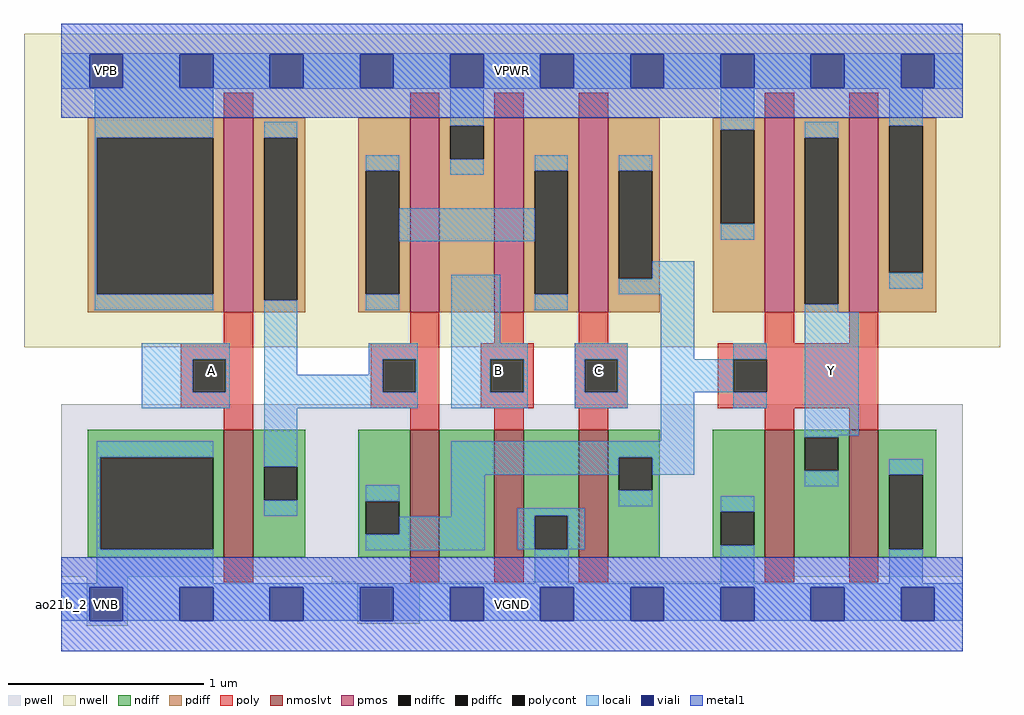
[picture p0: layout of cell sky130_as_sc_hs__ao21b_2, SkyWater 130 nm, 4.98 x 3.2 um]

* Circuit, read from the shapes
.subckt sky130_as_sc_hs__ao21b_2 VNB VPB VPWR VGND A B C Y
XM1 n1 A VGND VNB sky130_fd_pr__nfet_01v8_lvt w=0.65 l=0.15
XM2 n2 n1 n3 VNB sky130_fd_pr__nfet_01v8_lvt w=0.65 l=0.15
XM3 VGND B n2 VNB sky130_fd_pr__nfet_01v8_lvt w=0.65 l=0.15
XM4 n3 C VGND VNB sky130_fd_pr__nfet_01v8_lvt w=0.65 l=0.15
XM5 Y n3 VGND VNB sky130_fd_pr__nfet_01v8_lvt w=0.65 l=0.15 m=2
XM6 n1 A VPWR VPB sky130_fd_pr__pfet_01v8 w=0.99 l=0.15
XM7 VPWR n1 n4 VPB sky130_fd_pr__pfet_01v8 w=0.99 l=0.15
XM8 n4 B VPWR VPB sky130_fd_pr__pfet_01v8 w=0.99 l=0.15
XM9 n3 C n4 VPB sky130_fd_pr__pfet_01v8 w=0.99 l=0.15
XM10 Y n3 VPWR VPB sky130_fd_pr__pfet_01v8 w=0.99 l=0.15 m=2
.ends

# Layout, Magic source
magic
tech sky130A
magscale 1 2
<< nwell >>
rect -38 262 958 582
<< pwell >>
rect 0 28 920 204
rect 26 -22 68 28
rect 276 22 736 28
rect 302 -20 366 22
<< pmos >>
rect 166 298 196 496
rect 356 298 386 496
rect 442 298 472 496
rect 528 298 558 496
rect 718 298 748 496
rect 804 298 834 496
<< nmoslvt >>
rect 166 48 196 178
rect 356 48 386 178
rect 442 48 472 178
rect 528 48 558 178
rect 718 48 748 178
rect 804 48 834 178
<< ndiff >>
rect 27 150 166 178
rect 27 56 40 150
rect 155 56 166 150
rect 27 48 166 56
rect 196 140 249 178
rect 196 106 207 140
rect 241 106 249 140
rect 196 48 249 106
rect 303 105 356 178
rect 303 71 311 105
rect 345 71 356 105
rect 303 48 356 71
rect 386 48 442 178
rect 472 90 528 178
rect 472 56 483 90
rect 517 56 528 90
rect 472 48 528 56
rect 558 150 611 178
rect 558 116 569 150
rect 603 116 611 150
rect 558 48 611 116
rect 665 94 718 178
rect 665 60 673 94
rect 707 60 718 94
rect 665 48 718 60
rect 748 170 804 178
rect 748 136 759 170
rect 793 136 804 170
rect 748 48 804 136
rect 834 132 893 178
rect 834 56 845 132
rect 879 56 893 132
rect 834 48 893 56
<< pdiff >>
rect 27 476 166 496
rect 27 316 36 476
rect 155 316 166 476
rect 27 298 166 316
rect 196 476 249 496
rect 196 310 207 476
rect 241 310 249 476
rect 196 298 249 310
rect 303 442 356 496
rect 303 316 311 442
rect 345 316 356 442
rect 303 298 356 316
rect 386 488 442 496
rect 386 454 397 488
rect 431 454 442 488
rect 386 298 442 454
rect 472 442 528 496
rect 472 316 483 442
rect 517 316 528 442
rect 472 298 528 316
rect 558 442 611 496
rect 558 332 569 442
rect 603 332 611 442
rect 558 298 611 332
rect 665 484 718 496
rect 665 388 673 484
rect 707 388 718 484
rect 665 298 718 388
rect 748 476 804 496
rect 748 306 759 476
rect 793 306 804 476
rect 748 298 804 306
rect 834 488 893 496
rect 834 338 845 488
rect 879 338 893 488
rect 834 298 893 338
<< ndiffc >>
rect 40 56 155 150
rect 207 106 241 140
rect 311 71 345 105
rect 483 56 517 90
rect 569 116 603 150
rect 673 60 707 94
rect 759 136 793 170
rect 845 56 879 132
<< pdiffc >>
rect 36 316 155 476
rect 207 310 241 476
rect 311 316 345 442
rect 397 454 431 488
rect 483 316 517 442
rect 569 332 603 442
rect 673 388 707 484
rect 759 306 793 476
rect 845 338 879 488
<< poly >>
rect 166 496 196 522
rect 356 496 386 522
rect 442 496 472 522
rect 528 496 558 522
rect 718 496 748 522
rect 804 496 834 522
rect 166 266 196 298
rect 356 266 386 298
rect 442 266 472 298
rect 528 266 558 298
rect 718 266 748 298
rect 804 266 834 298
rect 122 250 196 266
rect 122 216 134 250
rect 168 216 196 250
rect 122 200 196 216
rect 316 250 386 266
rect 316 216 328 250
rect 362 216 386 250
rect 316 200 386 216
rect 428 250 482 266
rect 428 216 438 250
rect 472 216 482 250
rect 428 200 482 216
rect 524 250 578 266
rect 524 216 534 250
rect 568 216 578 250
rect 524 200 578 216
rect 670 250 834 266
rect 670 216 686 250
rect 720 216 834 250
rect 670 200 834 216
rect 166 178 196 200
rect 356 178 386 200
rect 442 178 472 200
rect 528 178 558 200
rect 718 178 748 200
rect 804 178 834 200
rect 166 22 196 48
rect 356 22 386 48
rect 442 22 472 48
rect 528 22 558 48
rect 718 22 748 48
rect 804 22 834 48
<< polycont >>
rect 134 216 168 250
rect 328 216 362 250
rect 438 216 472 250
rect 534 216 568 250
rect 686 216 720 250
<< locali >>
rect 0 561 920 562
rect 0 527 29 561
rect 63 527 121 561
rect 155 527 213 561
rect 247 527 305 561
rect 339 527 397 561
rect 431 527 489 561
rect 523 527 581 561
rect 615 527 673 561
rect 707 527 765 561
rect 799 527 857 561
rect 891 527 920 561
rect 0 526 920 527
rect 34 476 155 526
rect 34 316 36 476
rect 34 300 155 316
rect 207 476 241 492
rect 397 488 431 526
rect 82 250 172 266
rect 82 216 134 250
rect 168 216 172 250
rect 82 200 172 216
rect 207 234 241 310
rect 311 442 345 458
rect 673 484 707 526
rect 397 438 431 454
rect 483 442 517 458
rect 345 370 483 404
rect 311 300 345 316
rect 398 266 448 336
rect 569 442 603 458
rect 673 372 707 388
rect 759 476 793 492
rect 603 332 646 350
rect 569 316 646 332
rect 483 300 517 316
rect 314 250 364 266
rect 314 234 328 250
rect 207 216 328 234
rect 362 216 364 250
rect 207 200 364 216
rect 398 250 476 266
rect 398 216 438 250
rect 472 216 476 250
rect 398 200 476 216
rect 524 250 578 266
rect 524 216 534 250
rect 568 216 578 250
rect 524 200 578 216
rect 612 250 646 316
rect 845 488 879 526
rect 845 322 879 338
rect 759 298 793 306
rect 686 250 720 266
rect 612 216 686 250
rect 36 150 155 166
rect 36 56 40 150
rect 207 140 241 200
rect 612 166 646 216
rect 686 200 720 216
rect 398 150 646 166
rect 398 132 569 150
rect 207 90 241 106
rect 311 105 345 121
rect 36 21 155 56
rect 398 89 432 132
rect 603 132 646 150
rect 759 172 814 298
rect 759 170 793 172
rect 759 120 793 136
rect 845 132 879 148
rect 569 100 603 116
rect 345 71 432 89
rect 311 55 432 71
rect 466 90 534 98
rect 466 56 483 90
rect 517 56 534 90
rect 673 94 707 110
rect 483 21 518 56
rect 673 21 707 60
rect 845 21 879 56
rect 0 17 920 21
rect 0 -17 29 17
rect 63 -17 121 17
rect 155 -17 213 17
rect 247 -17 305 17
rect 339 -17 397 17
rect 431 -17 489 17
rect 523 -17 581 17
rect 615 -17 673 17
rect 707 -17 765 17
rect 799 -17 857 17
rect 891 -17 920 17
<< viali >>
rect 29 527 63 561
rect 121 527 155 561
rect 213 527 247 561
rect 305 527 339 561
rect 397 527 431 561
rect 489 527 523 561
rect 581 527 615 561
rect 673 527 707 561
rect 765 527 799 561
rect 857 527 891 561
rect 29 -17 63 17
rect 121 -17 155 17
rect 213 -17 247 17
rect 305 -17 339 17
rect 397 -17 431 17
rect 489 -17 523 17
rect 581 -17 615 17
rect 673 -17 707 17
rect 765 -17 799 17
rect 857 -17 891 17
<< metal1 >>
rect 0 561 920 592
rect 0 527 29 561
rect 63 527 121 561
rect 155 527 213 561
rect 247 527 305 561
rect 339 527 397 561
rect 431 527 489 561
rect 523 527 581 561
rect 615 527 673 561
rect 707 527 765 561
rect 799 527 857 561
rect 891 527 920 561
rect 0 496 920 527
rect 0 17 920 48
rect 0 -17 29 17
rect 63 -17 121 17
rect 155 -17 213 17
rect 247 -17 305 17
rect 339 -17 397 17
rect 431 -17 489 17
rect 523 -17 581 17
rect 615 -17 673 17
rect 707 -17 765 17
rect 799 -17 857 17
rect 891 -17 920 17
rect 0 -48 920 -17
<< labels >>
rlabel comment s 0 0 0 0 4 ao21b_2
flabel pwell s 29 -17 63 17 0 FreeSans 200 0 0 0 VNB
port 1 nsew ground bidirectional
flabel pwell s 46 0 46 0 0 FreeSans 200 0 0 0 VNB
flabel nwell s 29 527 63 561 0 FreeSans 200 0 0 0 VPB
port 2 nsew power bidirectional
flabel nwell s 46 544 46 544 0 FreeSans 200 0 0 0 VPB
flabel metal1 s 29 527 63 561 0 FreeSans 200 0 0 0 VPWR
port 3 nsew power bidirectional abutment
flabel metal1 s 29 -17 63 17 0 FreeSans 200 0 0 0 VGND
port 4 nsew ground bidirectional abutment
rlabel metal1 s 0 -48 920 48 1 VGND
port 4 nsew ground bidirectional abutment
rlabel metal1 s 0 496 920 592 1 VPWR
port 3 nsew power bidirectional abutment
flabel locali 136 221 170 255 0 FreeSans 200 0 0 0 A
port 5 nsew signal input
flabel locali 153 238 153 238 0 FreeSans 200 0 0 0 A
flabel locali s 429 221 463 255 0 FreeSans 200 0 0 0 B
port 6 nsew signal input
flabel locali s 446 238 446 238 0 FreeSans 200 0 0 0 B
flabel locali s 531 221 565 255 0 FreeSans 200 0 0 0 C
port 7 nsew signal input
flabel locali s 548 238 548 238 0 FreeSans 200 0 0 0 C
flabel locali s 769 221 803 255 0 FreeSans 200 0 0 0 Y
port 8 nsew signal output
flabel locali s 786 238 786 238 0 FreeSans 200 0 0 0 Y
<< properties >>
string FIXED_BBOX 0 0 920 544
string GDS_FILE $PDKPATH/libs.ref/sky130_as_sc_hs/gds/sky130_as_sc_hs__ao21b_2.gds
string LEFclass CORE
string LEFsite unithd
string LEFsymmetry X Y R90
string MASKHINTS_LVTN 0 -4 920 220
string MASKHINTS_NSDM 0 -38 920 209
string MASKHINTS_PSDM 0 273 920 582
<< end >>
